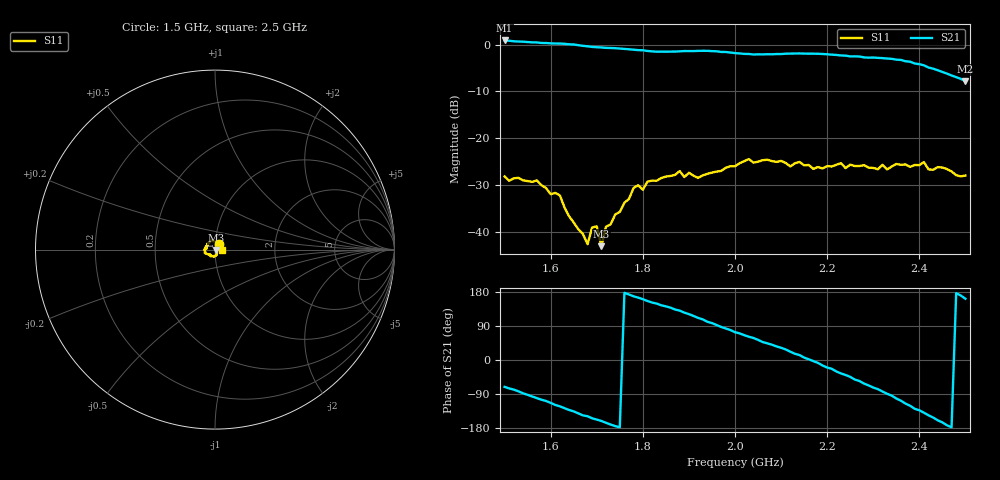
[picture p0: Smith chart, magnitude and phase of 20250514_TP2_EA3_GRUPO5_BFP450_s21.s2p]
# HZ S RI R 50
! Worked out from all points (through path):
!   101 points, 1.5 GHz to 2.5 GHz, reference 50 ohm
!   highest |S21| = 0.87 dB at 1.5 GHz (marker M1); lowest = -7.8 dB at 2.5 GHz (marker M2)
!   lowest |S11| = -43.0 dB at 1.71 GHz (marker M3), VSWR 1.01, Z = 50.6 - j0.327 ohm
!   |S11| at or under -10 dB: start of sweep to end of sweep
!   S12 and S22 are empty: the file has one direction only
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1.5e9  0.0216 0.0328  0.3609 -1.045  0 0  0 0
1.57e9  0.028 0.0221  -0.1942 -1.035  0 0  0 0
1.62e9  0.0221 0.011  -0.5475 -0.8664  0 0  0 0
1.67e9  0.00948 0.00122  -0.8049 -0.539  0 0  0 0
1.68e9  0.00743 0.000469  -0.8158 -0.5021  0 0  0 0
1.69e9  0.0109 -0.00265  -0.8476 -0.4154  0 0  0 0
1.7e9  0.0112 -0.00282  -0.8637 -0.3617  0 0  0 0
1.71e9  0.00631 -0.00323  -0.8802 -0.3042  0 0  0 0
1.72e9  0.00966 -0.00609  -0.8931 -0.2281  0 0  0 0
1.78e9  0.00888 -0.0284  -0.862 0.1832  0 0  0 0
1.84e9  -0.00615 -0.0373  -0.6829 0.4901  0 0  0 0
1.88e9  -0.0241 -0.0378  -0.5475 0.6463  0 0  0 0
1.94e9  -0.0313 -0.0278  -0.1619 0.8419  0 0  0 0
2e9  -0.0449 -0.023  0.2329 0.7763  0 0  0 0
2.1e9  -0.0574 0.00374  0.67 0.4232  0 0  0 0
2.17e9  -0.0468 0.00638  0.7981 -0.0415  0 0  0 0
2.21e9  -0.0495 0.00781  0.7172 -0.3083  0 0  0 0
2.26e9  -0.0468 0.0195  0.4648 -0.5868  0 0  0 0
2.34e9  -0.0409 0.029  -0.0479 -0.7026  0 0  0 0
2.41e9  -0.02 0.0522  -0.4539 -0.3935  0 0  0 0
2.46e9  0.0289 0.0372  -0.4855 -0.0666  0 0  0 0
2.5e9  0.04 -0.00432  -0.3861 0.1276  0 0  0 0
